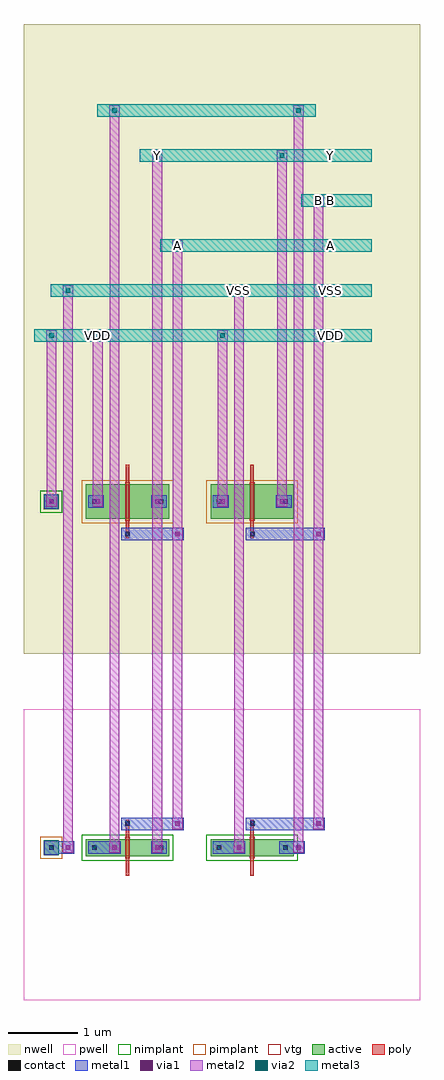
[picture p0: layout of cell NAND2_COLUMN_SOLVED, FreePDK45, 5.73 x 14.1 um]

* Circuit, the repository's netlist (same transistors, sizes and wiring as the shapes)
.subckt NAND2_COLUMN_SOLVED VDD VSS A B Y
M0 Y A VDD VDD PMOS_VTG W=0.5U L=0.05U
M1 Y B VDD VDD PMOS_VTG W=0.5U L=0.05U
M2 Y A n1 VSS NMOS_VTG W=0.25U L=0.05U
M3 n1 B VSS VSS NMOS_VTG W=0.25U L=0.05U
.ends NAND2_COLUMN_SOLVED
.end

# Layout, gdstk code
import gdstk
lib = gdstk.Library(unit=1e-6, precision=5e-10)
def R(c, l, rs):  # rectangles x0, y0, x1, y1
    for r in rs: c.add(gdstk.rectangle(r[:2], r[2:], *l))
def A(c, l, x, y, w, h, nx, ny, dx, dy):  # array of equal rectangles
    R(c, l, [(x+i*dx, y+j*dy, x+i*dx+w, y+j*dy+h) for i in range(nx) for j in range(ny)])
active = (1, 0)
pwell = (2, 0)
nwell = (3, 0)
nimplant = (4, 0)
pimplant = (5, 0)
vtg = (6, 0)
poly = (9, 0)
contact = (10, 0)
metal1 = (11, 0)
via1 = (12, 0)
metal2 = (13, 0)
via2 = (14, 0)
metal3 = (15, 0)

nand2_column_solved = lib.new_cell('NAND2_COLUMN_SOLVED')
R(nand2_column_solved, active, [(0.6,1.875,1.8,2.125), (2.4,1.875,3.6,2.125), (-0.01,1.89,0.21,2.11), (0.6,6.75,1.8,7.25), (2.4,6.75,3.6,7.25), (-0.01,6.89,0.21,7.11)])
R(nand2_column_solved, pwell, [(-0.3,-0.2,5.43,4)])
R(nand2_column_solved, nwell, [(-0.3,4.8,5.43,13.9)])
R(nand2_column_solved, nimplant, [(0.54,1.815,1.86,2.185), (2.34,1.815,3.66,2.185), (-0.06,6.84,0.26,7.16)])
R(nand2_column_solved, pimplant, [(-0.06,1.84,0.26,2.16), (0.54,6.69,1.86,7.31), (2.34,6.69,3.66,7.31)])
R(nand2_column_solved, vtg, [(1.165,1.845,1.235,2.155), (2.965,1.845,3.035,2.155), (1.165,6.72,1.235,7.28), (2.965,6.72,3.035,7.28)])
R(nand2_column_solved, poly, [(1.175,1.595,1.225,2.405), (2.975,1.595,3.025,2.405), (1.175,6.47,1.225,7.53), (2.975,6.47,3.025,7.53)])
R(nand2_column_solved, contact, [(0.07,1.97,0.135,2.035), (0.69,1.97,0.755,2.035), (1.65,1.97,1.715,2.035), (2.49,1.97,2.555,2.035), (3.45,1.97,3.515,2.035), (1.17,2.315,1.235,2.38), (2.97,2.315,3.035,2.38), (1.17,6.5,1.235,6.565), (2.97,6.5,3.035,6.565), (0.07,6.97,0.135,7.035), (0.69,6.97,0.755,7.035), (1.65,6.97,1.715,7.035), (2.49,6.97,2.555,7.035), (3.45,6.97,3.515,7.035)])
R(nand2_column_solved, metal1, [(0,1.9,0.2,2.1), (0.1,1.91,0.34,2.09), (0.1,1.91,0.34,2.09), (0.1,1.91,0.34,2.09), (0.25,1.91,0.43,2.09), (0.25,1.91,0.43,2.09), (0.25,1.91,0.43,2.09), (0.63,1.91,0.81,2.09), (0.77,1.91,1.01,2.09), (0.92,1.91,1.1,2.09), (1.54,1.91,1.72,2.09), (1.59,1.91,1.77,2.09), (2.43,1.91,2.61,2.09), (2.57,1.91,2.81,2.09), (2.72,1.91,2.9,2.09), (3.39,1.91,3.57,2.09), (3.43,1.91,3.67,2.09), (3.58,1.91,3.76,2.09), (1.11,2.255,1.29,2.435), (1.2,2.255,1.92,2.435), (1.83,2.255,2.01,2.435), (2.91,2.255,3.09,2.435), (3,2.255,3.96,2.435), (3.87,2.255,4.05,2.435), (1.11,6.44,1.29,6.62), (1.2,6.44,1.92,6.62), (1.83,6.44,2.01,6.62), (2.91,6.44,3.09,6.62), (3,6.44,3.96,6.62), (3.87,6.44,4.05,6.62), (0,6.9,0.2,7.1), (0.01,6.91,0.19,7.09), (0.01,6.91,0.19,7.09), (0.01,6.91,0.19,7.09), (0.63,6.91,0.81,7.09), (0.68,6.91,0.86,7.09), (1.54,6.91,1.72,7.09), (1.59,6.91,1.77,7.09), (2.43,6.91,2.61,7.09), (2.48,6.91,2.66,7.09), (3.34,6.91,3.52,7.09), (3.39,6.91,3.57,7.09)])
R(nand2_column_solved, via1, [(0.31,1.97,0.375,2.035), (0.31,1.97,0.375,2.035), (0.31,1.97,0.375,2.035), (0.98,1.97,1.045,2.035), (1.6,1.97,1.665,2.035), (2.78,1.97,2.845,2.035), (3.64,1.97,3.705,2.035), (1.89,2.315,1.955,2.38), (3.93,2.315,3.995,2.38), (1.89,6.5,1.955,6.565), (3.93,6.5,3.995,6.565), (0.07,6.97,0.135,7.035), (0.07,6.97,0.135,7.035), (0.07,6.97,0.135,7.035), (0.74,6.97,0.805,7.035), (1.6,6.97,1.665,7.035), (2.54,6.97,2.605,7.035), (3.4,6.97,3.465,7.035)])
A(nand2_column_solved, metal2, 1.555, 1.925, 0.15, 0.15, 1, 3, 0, 5)
R(nand2_column_solved, metal2, [(0.265,1.925,0.415,2.075), (0.265,1.925,0.415,2.075), (0.265,1.925,0.415,2.075), (0.935,1.925,1.085,2.075), (2.735,1.925,2.885,2.075), (3.595,1.925,3.745,2.075), (0.27,2,0.41,10.05), (0.27,2,0.41,10.05), (0.27,2,0.41,10.05), (0.94,2,1.08,12.65), (1.56,2,1.7,12), (2.74,2,2.88,10.05), (3.6,2,3.74,12.65), (1.845,2.27,1.995,2.42), (3.885,2.27,4.035,2.42), (1.85,2.345,1.99,10.7), (3.89,2.345,4.03,11.35), (1.845,6.455,1.995,6.605), (3.885,6.455,4.035,6.605), (1.85,6.53,1.99,10.7), (3.89,6.53,4.03,11.35), (0.025,6.925,0.175,7.075), (0.025,6.925,0.175,7.075), (0.025,6.925,0.175,7.075), (0.695,6.925,0.845,7.075), (2.495,6.925,2.645,7.075), (3.355,6.925,3.505,7.075), (0.03,7,0.17,9.4), (0.03,7,0.17,9.4), (0.03,7,0.17,9.4), (0.7,7,0.84,9.4), (1.56,7,1.7,12), (2.5,7,2.64,9.4), (3.36,7,3.5,12), (0.025,9.325,0.175,9.475), (0.025,9.325,0.175,9.475), (0.025,9.325,0.175,9.475), (0.695,9.325,0.845,9.475), (2.495,9.325,2.645,9.475), (0.265,9.975,0.415,10.125), (0.265,9.975,0.415,10.125), (0.265,9.975,0.415,10.125), (2.735,9.975,2.885,10.125), (1.845,10.625,1.995,10.775), (1.845,10.625,1.995,10.775), (3.885,11.275,4.035,11.425), (3.885,11.275,4.035,11.425), (1.555,11.925,1.705,12.075), (3.355,11.925,3.505,12.075), (0.935,12.575,1.085,12.725), (3.595,12.575,3.745,12.725)])
R(nand2_column_solved, via2, [(0.07,9.37,0.135,9.435), (0.07,9.37,0.135,9.435), (0.07,9.37,0.135,9.435), (0.74,9.37,0.805,9.435), (2.54,9.37,2.605,9.435), (0.31,10.02,0.375,10.085), (0.31,10.02,0.375,10.085), (0.31,10.02,0.375,10.085), (2.78,10.02,2.845,10.085), (1.89,10.67,1.955,10.735), (1.89,10.67,1.955,10.735), (3.93,11.32,3.995,11.385), (3.93,11.32,3.995,11.385), (1.6,11.97,1.665,12.035), (1.6,11.97,1.665,12.035), (3.4,11.97,3.465,12.035), (0.98,12.62,1.045,12.685), (3.64,12.62,3.705,12.685)])
R(nand2_column_solved, metal3, [(-0.15,9.31,2.82,9.49), (2.82,9.31,4.73,9.49), (0.025,9.325,0.175,9.475), (0.025,9.325,0.175,9.475), (0.025,9.325,0.175,9.475), (0.695,9.325,0.845,9.475), (2.495,9.325,2.645,9.475), (0.09,9.96,3.06,10.14), (3.06,9.96,4.73,10.14), (0.265,9.975,0.415,10.125), (0.265,9.975,0.415,10.125), (0.265,9.975,0.415,10.125), (2.735,9.975,2.885,10.125), (1.67,10.61,2.17,10.79), (2.17,10.61,4.73,10.79), (1.845,10.625,1.995,10.775), (1.845,10.625,1.995,10.775), (3.71,11.26,4.21,11.44), (4.21,11.26,4.73,11.44), (3.885,11.275,4.035,11.425), (3.885,11.275,4.035,11.425), (1.38,11.91,3.68,12.09), (3.68,11.91,4.73,12.09), (1.555,11.925,1.705,12.075), (1.555,11.925,1.705,12.075), (3.355,11.925,3.505,12.075), (0.76,12.56,3.92,12.74), (0.935,12.575,1.085,12.725), (3.595,12.575,3.745,12.725)])
nand2_column_solved.add(gdstk.Label('VDD', (4.13,9.4), layer=15, texttype=0))
nand2_column_solved.add(gdstk.Label('VDD', (4.13,9.4), layer=15, texttype=1))
nand2_column_solved.add(gdstk.Label('VDD', (4.13,9.4), layer=15, texttype=2))
nand2_column_solved.add(gdstk.Label('VDD', (0.77,9.4), layer=13, texttype=0))
nand2_column_solved.add(gdstk.Label('VDD', (0.77,9.4), layer=13, texttype=1))
nand2_column_solved.add(gdstk.Label('VDD', (0.77,9.4), layer=13, texttype=2))
nand2_column_solved.add(gdstk.Label('VSS', (4.13,10.05), layer=15, texttype=0))
nand2_column_solved.add(gdstk.Label('VSS', (4.13,10.05), layer=15, texttype=1))
nand2_column_solved.add(gdstk.Label('VSS', (4.13,10.05), layer=15, texttype=2))
nand2_column_solved.add(gdstk.Label('VSS', (2.81,10.05), layer=13, texttype=0))
nand2_column_solved.add(gdstk.Label('VSS', (2.81,10.05), layer=13, texttype=1))
nand2_column_solved.add(gdstk.Label('VSS', (2.81,10.05), layer=13, texttype=2))
nand2_column_solved.add(gdstk.Label('A', (4.13,10.7), layer=15, texttype=0))
nand2_column_solved.add(gdstk.Label('A', (4.13,10.7), layer=15, texttype=1))
nand2_column_solved.add(gdstk.Label('A', (4.13,10.7), layer=15, texttype=2))
nand2_column_solved.add(gdstk.Label('A', (1.92,10.7), layer=13, texttype=0))
nand2_column_solved.add(gdstk.Label('A', (1.92,10.7), layer=13, texttype=1))
nand2_column_solved.add(gdstk.Label('A', (1.92,10.7), layer=13, texttype=2))
nand2_column_solved.add(gdstk.Label('B', (4.13,11.35), layer=15, texttype=0))
nand2_column_solved.add(gdstk.Label('B', (4.13,11.35), layer=15, texttype=1))
nand2_column_solved.add(gdstk.Label('B', (4.13,11.35), layer=15, texttype=2))
nand2_column_solved.add(gdstk.Label('B', (3.96,11.35), layer=13, texttype=0))
nand2_column_solved.add(gdstk.Label('B', (3.96,11.35), layer=13, texttype=1))
nand2_column_solved.add(gdstk.Label('B', (3.96,11.35), layer=13, texttype=2))
nand2_column_solved.add(gdstk.Label('Y', (4.13,12), layer=15, texttype=0))
nand2_column_solved.add(gdstk.Label('Y', (4.13,12), layer=15, texttype=1))
nand2_column_solved.add(gdstk.Label('Y', (4.13,12), layer=15, texttype=2))
nand2_column_solved.add(gdstk.Label('Y', (1.63,12), layer=13, texttype=0))
nand2_column_solved.add(gdstk.Label('Y', (1.63,12), layer=13, texttype=1))
nand2_column_solved.add(gdstk.Label('Y', (1.63,12), layer=13, texttype=2))

lib.write_gds('NAND2_COLUMN_SOLVED.gds')
